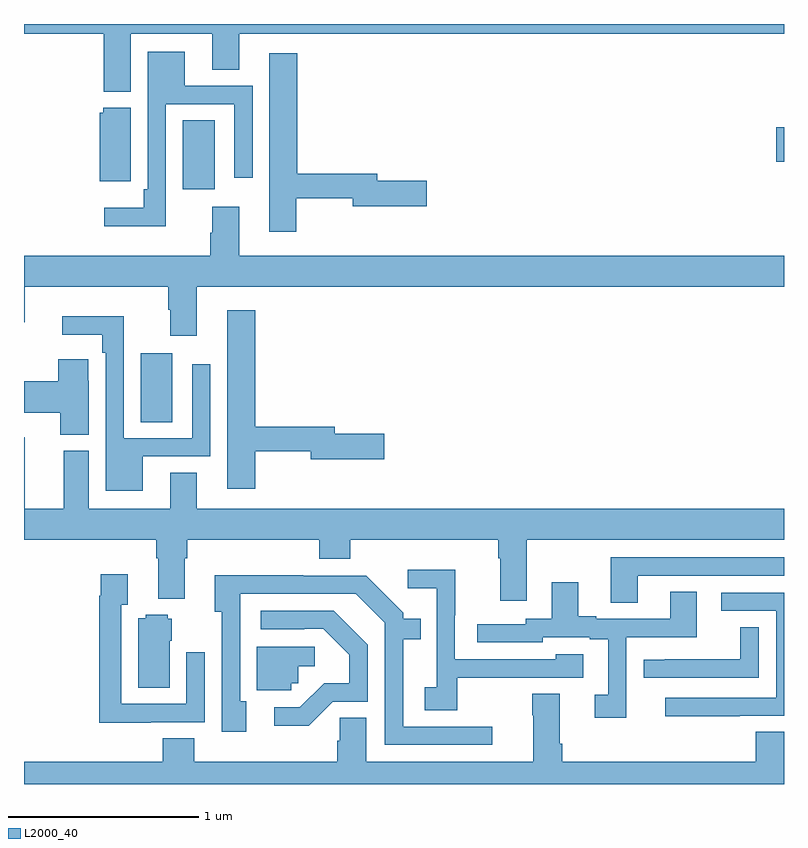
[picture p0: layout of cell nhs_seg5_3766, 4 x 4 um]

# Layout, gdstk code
import gdstk
lib = gdstk.Library(unit=1e-6, precision=1e-09)
def R(c, l, rs):  # rectangles x0, y0, x1, y1
    for r in rs: c.add(gdstk.rectangle(r[:2], r[2:], *l))
def P(c, l, *ps):  # polygons
    for p in ps: c.add(gdstk.Polygon(p, *l))
L2000_40 = (2000, 40)

nhs_seg5_3766 = lib.new_cell('nhs_seg5_3766')
R(nhs_seg5_3766, L2000_40, [(333.614,866.704,333.781,867.067), (333.836,867.93,334.003,868.292), (336.96,868.073,337,868.256)])
P(nhs_seg5_3766, L2000_40, [(333.562,868.748),(333.992,868.748),(333.992,868.558),(334.132,868.558),(334.132,868.748),(337,868.748),(337,868.799),(333,868.799),(333,868.748),(333.419,868.748),(333.419,868.442),(333.562,868.442)],
  [(333.747,868.377),(334.107,868.377),(334.107,867.99),(334.203,867.99),(334.203,868.473),(333.847,868.473),(333.847,868.654),(333.651,868.654),(333.651,867.928),(333.631,867.928),(333.631,867.832),(333.423,867.832),(333.423,867.734),(333.747,867.734)],
  [(334.434,867.882),(334.73,867.882),(334.73,867.839),(335.119,867.839),(335.119,867.974),(334.858,867.974),(334.858,868.01),(334.439,868.01),(334.439,868.645),(334.292,868.645),(334.292,867.705),(334.434,867.705)],
  [(333.562,868.357),(333.417,868.357),(333.417,868.332),(333.398,868.332),(333.398,867.971),(333.562,867.971)],
  [(333.91,867.416),(337,867.416),(337,867.58),(334.132,867.58),(334.132,867.838),(333.992,867.838),(333.992,867.701),(333.98,867.701),(333.98,867.58),(333,867.58),(333,867.228),(333.004,867.228),(333.004,867.416),(333.758,867.416),(333.758,867.296),(333.77,867.296),(333.77,867.159),(333.91,867.159)],
  [(334.217,866.55),(334.508,866.55),(334.508,866.507),(334.897,866.507),(334.897,866.642),(334.636,866.642),(334.636,866.678),(334.217,866.678),(334.217,867.292),(334.07,867.292),(334.07,866.352),(334.217,866.352)],
  [(333.625,866.523),(333.981,866.523),(333.981,867.007),(333.885,867.007),(333.885,866.619),(333.525,866.619),(333.525,867.262),(333.201,867.262),(333.201,867.164),(333.413,867.164),(333.413,867.068),(333.429,867.068),(333.429,866.342),(333.625,866.342)],
  [(333.34,866.921),(333.339,866.921),(333.339,867.034),(333.179,867.034),(333.179,866.919),(333,866.919),(333,866.753),(333.191,866.753),(333.191,866.638),(333.34,866.638)],
  [(335.647,866.084),(337,866.084),(337,866.248),(333.91,866.248),(333.91,866.438),(333.77,866.438),(333.77,866.248),(333.34,866.248),(333.34,866.553),(333.209,866.553),(333.209,866.248),(333.004,866.248),(333.004,866.623),(333,866.623),(333,866.084),(333.695,866.084),(333.695,865.988),(333.707,865.988),(333.707,865.775),(333.847,865.775),(333.847,865.988),(333.86,865.988),(333.86,866.084),(334.553,866.084),(334.553,865.985),(334.718,865.985),(334.718,866.084),(335.495,866.084),(335.495,865.988),(335.507,865.988),(335.507,865.764),(335.647,865.764)],
  [(336.229,865.896),(337,865.896),(337,865.992),(336.089,865.992),(336.089,865.753),(336.229,865.753)],
  [(335.281,865.357),(335.585,865.357),(335.585,865.359),(335.944,865.359),(335.944,865.483),(335.799,865.483),(335.799,865.455),(335.268,865.455),(335.268,865.688),(335.271,865.688),(335.271,865.927),(335.019,865.927),(335.019,865.829),(335.172,865.829),(335.172,865.308),(335.109,865.308),(335.109,865.186),(335.281,865.186)],
  [(333.667,865.125),(333.951,865.125),(333.951,865.492),(333.855,865.492),(333.855,865.221),(333.513,865.221),(333.513,865.742),(333.547,865.742),(333.547,865.903),(333.405,865.903),(333.405,865.79),(333.397,865.79),(333.397,865.121),(333.667,865.121)],
  [(335.464,865.101),(334.996,865.101),(334.996,865.56),(335.087,865.56),(335.087,865.669),(334.995,865.669),(334.995,865.701),(334.8,865.896),(334.469,865.896),(334.469,865.898),(334.004,865.898),(334.004,865.706),(334.041,865.706),(334.041,865.074),(334.171,865.074),(334.171,865.234),(334.137,865.234),(334.137,865.8),(334.746,865.8),(334.899,865.647),(334.899,865.005),(335.464,865.005)],
  [(336.171,865.572),(336.541,865.572),(336.541,865.811),(336.401,865.811),(336.401,865.668),(336.013,865.668),(336.013,865.681),(335.917,865.681),(335.917,865.861),(335.777,865.861),(335.777,865.668),(335.64,865.668),(335.64,865.641),(335.385,865.641),(335.385,865.545),(335.73,865.545),(335.73,865.572),(335.978,865.572),(335.978,865.56),(336.074,865.56),(336.074,865.269),(336.003,865.269),(336.003,865.149),(336.171,865.149)],
  [(336.767,865.158),(337,865.158),(337,865.806),(336.669,865.806),(336.669,865.71),(336.96,865.71),(336.96,865.254),(336.375,865.254),(336.375,865.156),(336.767,865.156)],
  [(334.626,865.233),(334.809,865.233),(334.809,865.531),(334.63,865.71),(334.245,865.71),(334.245,865.614),(334.475,865.614),(334.475,865.617),(334.575,865.617),(334.712,865.48),(334.712,865.33),(334.579,865.33),(334.452,865.203),(334.317,865.203),(334.317,865.106),(334.498,865.106)],
  [(333.766,865.554),(333.778,865.554),(333.778,865.668),(333.756,865.668),(333.756,865.69),(333.642,865.69),(333.642,865.672),(333.602,865.672),(333.602,865.306),(333.766,865.306)],
  [(336.867,865.625),(336.769,865.625),(336.769,865.455),(336.373,865.455),(336.373,865.454),(336.261,865.454),(336.261,865.359),(336.867,865.359)],
  [(334.407,865.329),(334.443,865.329),(334.443,865.418),(334.531,865.418),(334.531,865.521),(334.226,865.521),(334.226,865.293),(334.407,865.293)],
  [(337,865.073),(336.851,865.073),(336.851,864.916),(335.834,864.916),(335.834,865.012),(335.821,865.012),(335.821,865.273),(335.674,865.273),(335.674,865.16),(335.681,865.16),(335.681,864.916),(334.801,864.916),(334.801,865.148),(334.663,865.148),(334.663,865.026),(334.649,865.026),(334.649,864.916),(333.896,864.916),(333.896,865.04),(333.731,865.04),(333.731,864.916),(333,864.916),(333,864.799),(337,864.799)])

lib.write_gds('nhs_seg5_3766.gds')
